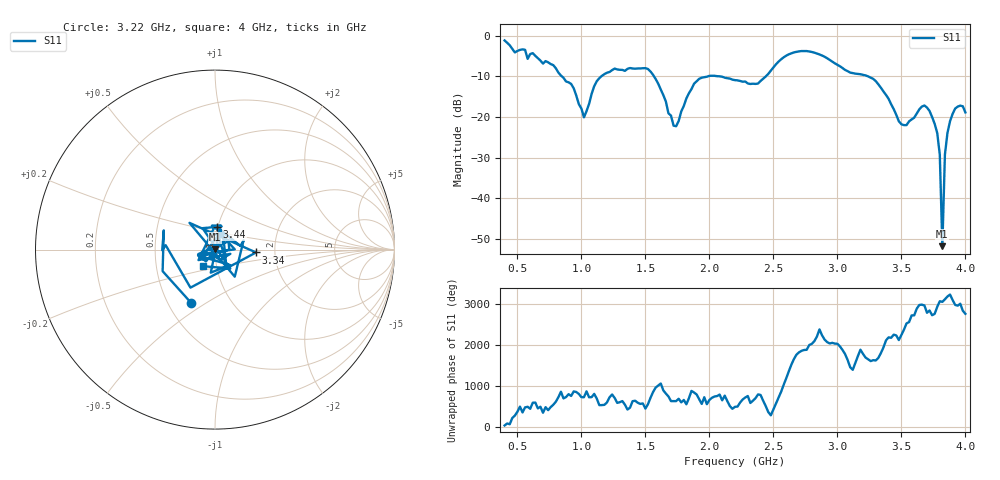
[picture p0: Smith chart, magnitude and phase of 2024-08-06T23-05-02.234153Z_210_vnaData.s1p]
!Created with skrf (http://scikit-rf.org).
# Hz S RI R 50.0
!freq ReS11 ImS11
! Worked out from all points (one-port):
!   181 points, 400 MHz to 4 GHz, reference 50 ohm
!   lowest |S11| = -51.7 dB at 3.82 GHz (marker M1), VSWR 1.01, Z = 49.7 + j0.0621 ohm
!   |S11| at or under -10 dB: 1.567 GHz to 1.989 GHz (421.8 MHz wide, 23.7 % of centre); 2.081 GHz to 2.441 GHz (360.6 MHz wide, 15.9 % of centre); 3.239 GHz to end of sweep (the widest 3 of 4)
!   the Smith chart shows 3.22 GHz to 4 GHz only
!   S11 on the Smith chart (normalised r, x): 3.22 GHz: 0.65, -0.43; 3.34 GHz: 1.59, -0.05; 3.44 GHz: 0.99, +0.25; 4 GHz: 0.86, -0.16
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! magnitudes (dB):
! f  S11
! 400 MHz  -1.2
! 860 MHz  -10.4
! 940 MHz  -12.9
! 1.02 GHz  -20.1
! 1.12 GHz  -11.2
! 1.3 GHz  -8.4
! 1.52 GHz  -8.2
! 1.6 GHz  -11.8
! 1.72 GHz  -22.1
! 1.76 GHz  -21.0
! 1.92 GHz  -10.6
! 2.2 GHz  -10.9
! 2.38 GHz  -11.8
! 2.66 GHz  -4.1
! 3.1 GHz  -9.1
! 3.22 GHz  -9.8
! 3.34 GHz  -12.8
! 3.44 GHz  -18.0
! 3.5 GHz  -21.8
! 3.56 GHz  -21.1
! 3.68 GHz  -17.2
! 3.78 GHz  -23.9
! 3.8 GHz  -29.2
! 3.82 GHz  -51.7
! 3.84 GHz  -29.2
! 3.86 GHz  -23.9
! 3.92 GHz  -17.9
! 4 GHz  -18.9
